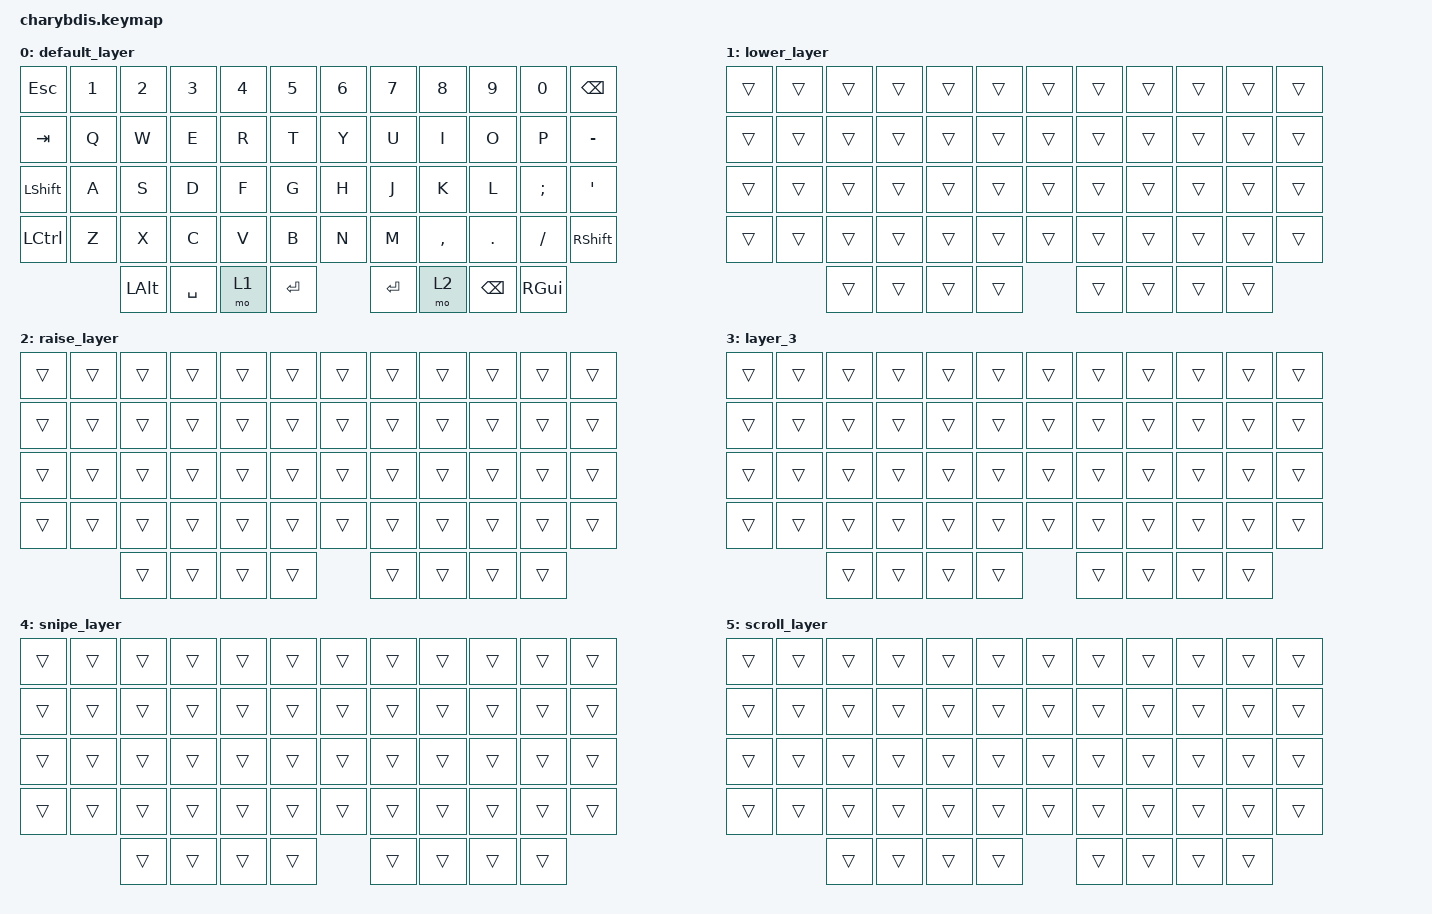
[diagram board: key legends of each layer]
#include <behaviors.dtsi>
#include <dt-bindings/zmk/keys.h>
#include <dt-bindings/zmk/bt.h>
#include <dt-bindings/zmk/mouse.h>

/ {
    keymap {
        compatible = "zmk,keymap";

        default_layer {
            bindings = <
    &kp ESC   &kp N1 &kp N2 &kp N3 &kp N4 &kp N5    &kp N6 &kp N7 &kp N8 &kp N9 &kp N0 &kp BSPC
    &kp TAB   &kp Q  &kp W  &kp E  &kp R  &kp T     &kp Y  &kp U  &kp I  &kp O  &kp P  &kp MINUS
    &kp LSHFT &kp A  &kp S  &kp D  &kp F  &kp G     &kp H  &kp J  &kp K  &kp L  &kp SEMI &kp APOS
    &kp LCTRL &kp Z  &kp X  &kp C  &kp V  &kp B     &kp N  &kp M  &kp COMMA &kp DOT &kp FSLH &kp RSHIFT
                     &kp LALT &kp SPACE &mo 1 &kp RET   &kp RET &mo 2 &kp BSPC &kp RGUI
            >;
        };

        lower_layer {
            bindings = <
    &trans    &trans &trans &trans &trans &trans    &trans &trans &trans &trans &trans &trans
    &trans    &trans &trans &trans &trans &trans    &trans &trans &trans &trans &trans &trans
    &trans    &trans &trans &trans &trans &trans    &trans &trans &trans &trans &trans &trans
    &trans    &trans &trans &trans &trans &trans    &trans &trans &trans &trans &trans &trans
                     &trans &trans &trans &trans    &trans &trans &trans &trans
            >;
        };

        raise_layer {
            bindings = <
    &trans    &trans &trans &trans &trans &trans    &trans &trans &trans &trans &trans &trans
    &trans    &trans &trans &trans &trans &trans    &trans &trans &trans &trans &trans &trans
    &trans    &trans &trans &trans &trans &trans    &trans &trans &trans &trans &trans &trans
    &trans    &trans &trans &trans &trans &trans    &trans &trans &trans &trans &trans &trans
                     &trans &trans &trans &trans    &trans &trans &trans &trans
            >;
        };
        
        /* 3번 레이어 (비워둠) */
        layer_3 {
            bindings = <
    &trans &trans &trans &trans &trans &trans    &trans &trans &trans &trans &trans &trans
    &trans &trans &trans &trans &trans &trans    &trans &trans &trans &trans &trans &trans
    &trans &trans &trans &trans &trans &trans    &trans &trans &trans &trans &trans &trans
    &trans &trans &trans &trans &trans &trans    &trans &trans &trans &trans &trans &trans
                  &trans &trans &trans &trans    &trans &trans &trans &trans
            >;
        };

        /* 4번 레이어 (Snipe) */
        snipe_layer {
            bindings = <
    &trans &trans &trans &trans &trans &trans    &trans &trans &trans &trans &trans &trans
    &trans &trans &trans &trans &trans &trans    &trans &trans &trans &trans &trans &trans
    &trans &trans &trans &trans &trans &trans    &trans &trans &trans &trans &trans &trans
    &trans &trans &trans &trans &trans &trans    &trans &trans &trans &trans &trans &trans
                  &trans &trans &trans &trans    &trans &trans &trans &trans
            >;
        };

        /* 5번 레이어 (Scroll) */
        scroll_layer {
            bindings = <
    &trans &trans &trans &trans &trans &trans    &trans &trans &trans &trans &trans &trans
    &trans &trans &trans &trans &trans &trans    &trans &trans &trans &trans &trans &trans
    &trans &trans &trans &trans &trans &trans    &trans &trans &trans &trans &trans &trans
    &trans &trans &trans &trans &trans &trans    &trans &trans &trans &trans &trans &trans
                  &trans &trans &trans &trans    &trans &trans &trans &trans
            >;
        };
    };
};
